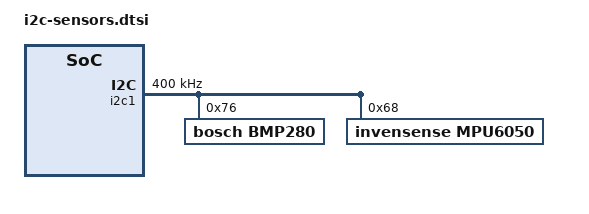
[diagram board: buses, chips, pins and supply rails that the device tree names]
/*
 * Device Tree Include — I2C Environmental Sensors
 * Target: ARMv8-A QEMU virt board (PL011 + VirtIO)
 *
 * This fragment defines two I2C sensor nodes on bus i2c@1:
 *   - Bosch BMP280: Temperature + Barometric Pressure
 *   - InvenSense MPU6050: 6-axis Accelerometer + Gyroscope
 *
 * On real hardware this file would be included by the board-level
 * .dts via:   #include "i2c-sensors.dtsi"
 *
 * QEMU virt does not expose a real I2C controller, so this file
 * serves as a reference design for physical board bring-up.
 */

&i2c1 {
    status = "okay";
    clock-frequency = <400000>;  /* I2C Fast Mode — 400 kHz */

    /*
     * Bosch BMP280 — Digital Pressure & Temperature Sensor
     * Datasheet I2C address: 0x76 (SDO=GND) or 0x77 (SDO=VDD)
     * Linux driver: drivers/iio/pressure/bmp280-i2c.c
     */
    bmp280: pressure@76 {
        compatible = "bosch,bmp280";
        reg = <0x76>;
        status = "okay";

        /*
         * vdda-supply: Analog supply (1.71V - 3.6V)
         * vddd-supply: Digital supply (1.2V - 3.6V)
         * On dev boards these typically come from a fixed regulator.
         */
        /* vdda-supply = <&reg_3v3>; */
        /* vddd-supply = <&reg_1v8>; */
    };

    /*
     * InvenSense MPU6050 — 6-axis IMU (Accel + Gyro)
     * Datasheet I2C address: 0x68 (AD0=GND) or 0x69 (AD0=VDD)
     * Linux driver: drivers/iio/imu/inv_mpu6050/inv_mpu_i2c.c
     */
    mpu6050: imu@68 {
        compatible = "invensense,mpu6050";
        reg = <0x68>;
        status = "okay";

        /*
         * interrupt-parent = <&gpio1>;
         * interrupts = <7 IRQ_TYPE_EDGE_RISING>;
         *
         * mount-matrix:
         * Defines the physical orientation of the sensor on the PCB.
         * The kernel IIO subsystem uses this matrix to transform
         * raw axis data into the device's real coordinate system.
         */
        /* mount-matrix = "1",  "0",  "0",
                          "0",  "1",  "0",
                          "0",  "0",  "1"; */
    };
};
